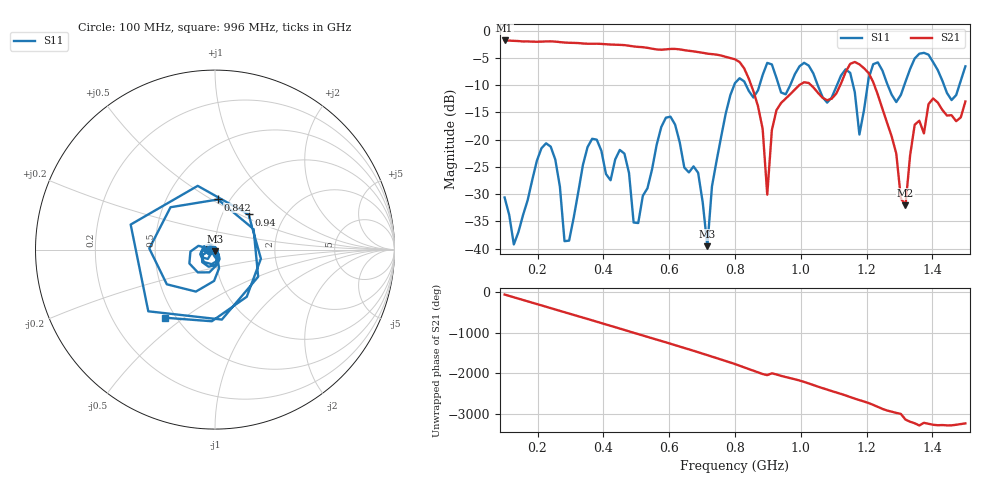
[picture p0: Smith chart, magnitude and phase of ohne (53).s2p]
! NanoVNA-App
! Date: 2025-09-26 09:55:48
! Start: 100MHz Stop: 1,5GHz Points: 101
! S-Parameter data: F S11 S21 S12 S22
# Hz S RI R 50
!  Frequency  S11_Real  S11_Imag  S21_Real  S21_Imag  S12_Real  S12_Imag  S22_Real  S22_Imag
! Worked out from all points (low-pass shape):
!   101 points, 100 MHz to 1.5 GHz, reference 50 ohm
!   highest |S21| = -1.79 dB at 100 MHz (marker M1); lowest = -32.1 dB at 1.318 GHz (marker M2)
!   |S21| within 3 dB of the highest: start of sweep to 771.4 MHz
!   lowest |S11| = -39.6 dB at 716 MHz (marker M3), VSWR 1.02, Z = 49.9 - j1.04 ohm
!   |S11| at or under -10 dB: start of sweep to 797.5 MHz; 833.5 MHz to 874.7 MHz (41.17 MHz wide, 4.82 % of centre); 1.051 GHz to 1.11 GHz (58.53 MHz wide, 5.42 % of centre) (the widest 3 of 7)
!   S12 and S22 are empty: the file has one direction only
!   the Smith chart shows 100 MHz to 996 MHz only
!   S11 on the Smith chart (normalised r, x): 100 MHz: 0.94, -0.01; 842 MHz: 0.88, +0.53; 940 MHz: 1.33, +0.56; 996 MHz: 0.44, -0.43
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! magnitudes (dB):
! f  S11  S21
! 100 MHz  -30.6  -1.8
! 128 MHz  -39.3  -1.9
! 226 MHz  -20.7  -2.0
! 296 MHz  -38.6  -2.2
! 338 MHz  -24.6  -2.3
! 464 MHz  -22.6  -2.6
! 506 MHz  -35.3  -3.0
! 576 MHz  -17.7  -3.5
! 688 MHz  -26.1  -3.9
! 716 MHz  -39.6  -4.2
! 800 MHz  -9.6  -5.3
! 842 MHz  -11.1  -8.8
! 898 MHz  -5.9  -30.1
! 940 MHz  -11.3  -13.3
! 996 MHz  -6.5  -10.0
! 1.038 GHz  -7.8  -10.4
! 1.178 GHz  -19.1  -6.2
! 1.22 GHz  -6.1  -9.5
! 1.276 GHz  -11.7  -19.4
! 1.318 GHz  -9.4  -32.1
! 1.346 GHz  -5.1  -17.3
! 1.5 GHz  -6.5  -13.0
